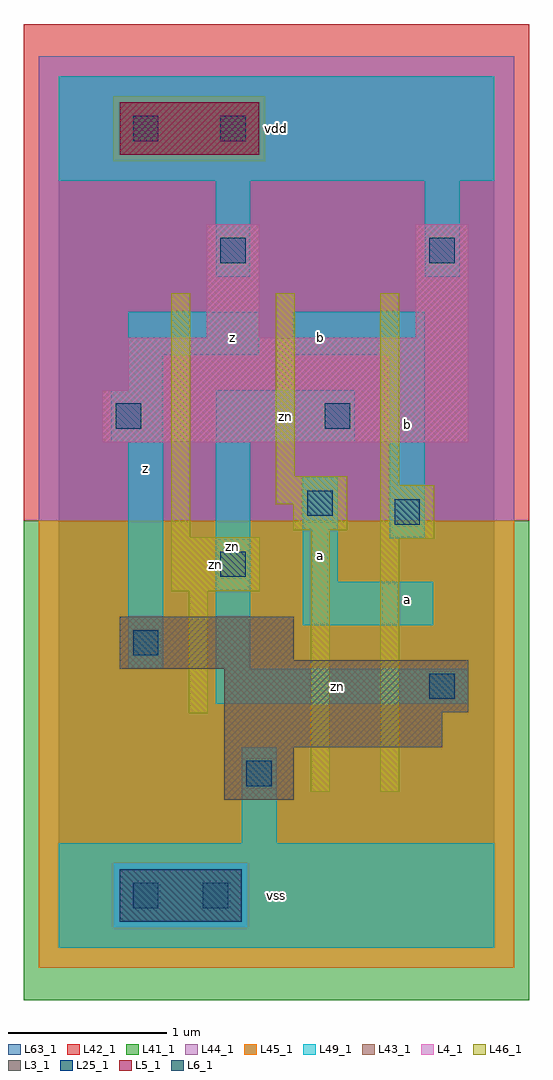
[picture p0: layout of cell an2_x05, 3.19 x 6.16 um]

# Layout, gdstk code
import gdstk
lib = gdstk.Library(unit=1e-6, precision=1e-09)
def R(c, l, rs):  # rectangles x0, y0, x1, y1
    for r in rs: c.add(gdstk.rectangle(r[:2], r[2:], *l))
L3_1 = (3, 1)
L4_1 = (4, 1)
L5_1 = (5, 1)
L6_1 = (6, 1)
L25_1 = (25, 1)
L41_1 = (41, 1)
L42_1 = (42, 1)
L43_1 = (43, 1)
L44_1 = (44, 1)
L45_1 = (45, 1)
L46_1 = (46, 1)
L49_1 = (49, 1)
L63_1 = (63, 1)

an2_x05 = lib.new_cell('an2_x05')
R(an2_x05, L3_1, [(1.045,0.935,1.485,1.265), (1.045,1.265,2.42,1.485), (1.045,1.485,2.585,1.76), (0.385,1.76,2.585,1.815), (0.385,1.815,1.485,2.09)])
R(an2_x05, L4_1, [(0.275,3.19,2.585,3.52), (0.44,3.52,2.585,3.85), (0.935,3.85,1.265,4.565), (2.255,3.85,2.585,4.565)])
R(an2_x05, L5_1, [(0.385,5.005,1.265,5.335)])
R(an2_x05, L6_1, [(0.385,0.165,1.155,0.495)])
R(an2_x05, L25_1, [(0.47,0.25,0.63,0.41), (0.91,0.25,1.07,0.41), (1.185,1.02,1.345,1.18), (2.34,1.57,2.5,1.73), (0.47,1.845,0.63,2.005), (1.02,2.34,1.18,2.5), (2.12,2.67,2.28,2.83), (1.57,2.725,1.73,2.885), (0.36,3.275,0.52,3.435), (1.68,3.275,1.84,3.435), (1.02,4.32,1.18,4.48), (2.34,4.32,2.5,4.48), (0.47,5.09,0.63,5.25), (1.02,5.09,1.18,5.25)])
R(an2_x05, L41_1, [(-0.22,-0.33,2.97,2.695)])
R(an2_x05, L42_1, [(-0.22,2.695,2.97,5.83)])
R(an2_x05, L43_1, [(0.385,0.165,1.155,0.495), (1.045,0.935,1.485,1.265), (1.045,1.265,2.42,1.485), (1.045,1.485,2.585,1.76), (0.385,1.76,2.585,1.815), (0.385,1.815,1.485,2.09), (0.275,3.19,2.585,3.52), (0.44,3.52,2.585,3.85), (0.935,3.85,1.265,4.565), (2.255,3.85,2.585,4.565), (0.385,5.005,1.265,5.335)])
R(an2_x05, L44_1, [(0.345,0.125,1.195,0.535), (-0.125,2.695,2.875,4.965), (-0.125,4.965,0.345,5.375), (1.305,4.965,2.875,5.375), (-0.125,5.375,2.875,5.625)])
R(an2_x05, L45_1, [(-0.125,-0.125,2.875,0.125), (-0.125,0.125,0.345,0.535), (1.195,0.125,2.875,0.535), (-0.125,0.535,2.875,2.695), (0.345,4.965,1.305,5.375)])
R(an2_x05, L46_1, [(1.59,0.985,1.71,2.635), (2.03,0.985,2.15,2.58), (0.82,1.48,0.94,2.25), (0.71,2.25,1.27,2.59), (2.03,2.58,2.37,2.92), (0.71,2.59,0.83,4.13), (1.48,2.635,1.82,2.8), (1.37,2.8,1.82,2.975), (2.03,2.92,2.15,4.13), (1.37,2.975,1.49,4.13)])
R(an2_x05, L49_1, [(0,0,2.75,0.66), (1.155,0.66,1.375,1.265), (0.99,1.54,2.585,1.76), (0.44,1.76,0.66,3.19), (0.99,1.76,1.21,3.19), (1.54,2.035,2.365,2.31), (1.54,2.31,1.76,2.97), (2.09,2.585,2.31,3.74), (0.33,3.19,0.66,3.52), (0.99,3.19,1.87,3.52), (0.44,3.52,0.66,3.74), (0.44,3.74,1.265,4.015), (1.485,3.74,2.31,4.015), (0.99,4.235,1.21,4.84), (2.31,4.235,2.53,4.84), (0,4.84,2.75,5.5)])
R(an2_x05, L63_1, [(0,0,2.75,5.5)])
an2_x05.add(gdstk.Label('zn', (0.99,2.42), layer=46, texttype=1))
an2_x05.add(gdstk.Label('zn', (1.1,2.53), layer=49, texttype=1))
an2_x05.add(gdstk.Label('z', (0.55,3.025), layer=49, texttype=1))
an2_x05.add(gdstk.Label('z', (0.55,3.025), layer=49, texttype=1))
an2_x05.add(gdstk.Label('z', (1.1,3.85), layer=49, texttype=1))
an2_x05.add(gdstk.Label('z', (1.1,3.85), layer=49, texttype=1))
an2_x05.add(gdstk.Label('vss', (1.375,0.33), layer=49, texttype=1))
an2_x05.add(gdstk.Label('vss', (1.375,0.33), layer=49, texttype=1))
an2_x05.add(gdstk.Label('a', (1.65,2.475), layer=49, texttype=1))
an2_x05.add(gdstk.Label('a', (1.65,2.475), layer=49, texttype=1))
an2_x05.add(gdstk.Label('zn', (1.43,3.355), layer=49, texttype=1))
an2_x05.add(gdstk.Label('b', (1.65,3.85), layer=49, texttype=1))
an2_x05.add(gdstk.Label('b', (1.65,3.85), layer=49, texttype=1))
an2_x05.add(gdstk.Label('vdd', (1.375,5.17), layer=49, texttype=1))
an2_x05.add(gdstk.Label('vdd', (1.375,5.17), layer=49, texttype=1))
an2_x05.add(gdstk.Label('a', (2.2,2.2), layer=49, texttype=1))
an2_x05.add(gdstk.Label('a', (2.2,2.2), layer=49, texttype=1))
an2_x05.add(gdstk.Label('zn', (1.76,1.65), layer=49, texttype=1))
an2_x05.add(gdstk.Label('b', (2.2,3.3), layer=49, texttype=1))
an2_x05.add(gdstk.Label('b', (2.2,3.3), layer=49, texttype=1))

lib.write_gds('an2_x05.gds')
